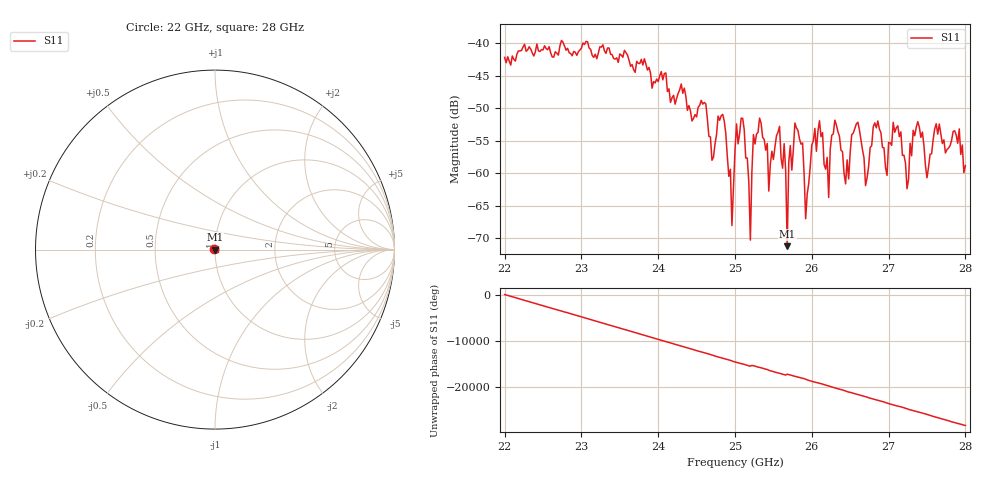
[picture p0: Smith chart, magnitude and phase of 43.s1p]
#  HZ  S  RI  R  50.00
! Rohde & Schwarz ZVA40 4Ports - Version 3.90 - 1145.1110k42 SN: 100403
! Date: 2023-10-04 06:20:59
! Measurement: S12
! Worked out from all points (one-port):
!   301 points, 22 GHz to 28 GHz, reference 50 ohm
!   lowest |S11| = -71.2 dB at 25.68 GHz (marker M1), VSWR 1.00, Z = 50 + j0.0255 ohm
!   |S11| at or under -10 dB: start of sweep to end of sweep
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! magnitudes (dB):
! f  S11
! 22 GHz  -42.2
! 22.76 GHz  -39.9
! 23.5 GHz  -41.7
! 24.26 GHz  -47.7
! 24.7 GHz  -58.0
! 24.84 GHz  -51.0
! 24.96 GHz  -68.1
! 25 GHz  -56.5
! 25.1 GHz  -51.6
! 25.2 GHz  -70.3
! 25.24 GHz  -54.1
! 25.44 GHz  -62.8
! 25.58 GHz  -52.8
! 25.64 GHz  -55.5
! 25.68 GHz  -71.2
! 25.7 GHz  -58.3
! 25.76 GHz  -56.3
! 25.88 GHz  -55.4
! 25.92 GHz  -67.0
! 26.1 GHz  -52.0
! 26.22 GHz  -63.8
! 26.3 GHz  -51.9
! 26.5 GHz  -56.8
! 26.98 GHz  -60.4
! 27.06 GHz  -52.2
! 27.26 GHz  -60.9
! 27.38 GHz  -52.1
! 28 GHz  -58.8
